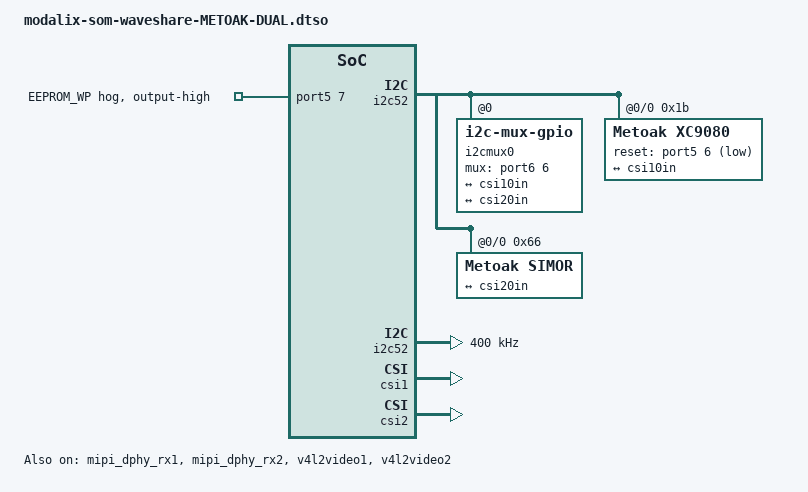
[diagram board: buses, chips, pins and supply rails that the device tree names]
// SPDX-License-Identifier: (GPL-2.0+ OR MIT)
/*
 * Copyright (c) 2026 SiMa ai
 */

/dts-v1/;
/plugin/;

#include <dt-bindings/gpio/gpio.h> 

&{/} {
        xclk_shared: xclk {
                status = "okay";
                compatible = "fixed-clock";
                #clock-cells = <0>;
                clock-frequency = <24000000>;
        };

        i2cmux0: i2cmux@0 {
                compatible = "i2c-mux-gpio";
                i2c-parent = <&i2c52>;
                #address-cells = <1>;
                #size-cells = <0>;
                /* Set port6 gpio6 to GPIO_ACTIVE_LOW mode */
                mux-gpios = <&port6 6 0>;

                i2cmux0p0: i2c@0 {
                    reg = <0>;
                    #address-cells = <1>;
                    #size-cells = <0>;
                };

                i2cmux0p1: i2c@1 {
                    reg = <1>;
                    #address-cells = <1>;
                    #size-cells = <0>;
                };
        };
};

&port5 {
    
        gpio-line-names =
                     "",        /* pin 0 */
                     "",        /* pin 1 */
                     "",        /* pin 2 */
                     "",        /* pin 3 */
                     "",        /* pin 4 */
                     "",        /* pin 5 */
                     "SIMOR_RESET";        /* pin 6 */

        cam-hog1 {
                gpio-hog;
                /* Set port5 gpio7 to GPIO_ACTIVE_HIGH mode */
                gpios = <7 0>;
                output-high;
                line-name = "EEPROM_WP";
        };
};

&i2c52 {
    status = "okay";
    clock-frequency = <400000>;
    #address-cells = <1>;
    #size-cells = <0>;
};

&csi1 {
    status = "okay";
};

&csi2 {
    status = "okay";
};

&axi_vdma1 {
    status = "okay";
};

&axi_vdma2 {
    status = "okay";
};

&mipi_dphy_rx1 {
    status = "okay";
};

&mipi_dphy_rx2 {
    status = "okay";
};

&v4l2video1 {
    status = "okay";
};

&v4l2video2 {
    status = "okay";
};

&v4l2vdma1 {
    status = "okay";
};

&v4l2vdma2 {
    status = "okay";
};

&csi10in {
    clock-lanes = <0>;
    data-lanes = <1 2>;
    link-frequencies = /bits/ 64 <450000000>;
    remote-endpoint = <&cam10out>;
    clock-continuous;
};

&csi20in {
    clock-lanes = <0>;
    data-lanes = <1 2>;
    link-frequencies = /bits/ 64 <450000000>;
    remote-endpoint = <&cam20out>;
    clock-continuous;
};

&i2cmux0p0 {
         xc9080: xc9080@1b {
                 compatible = "Metoak,xc9080";
                 reg = <0x1b>;
                 
                 startup-delay-ms = <0>;
                 reset-gpios = <&port5 6 GPIO_ACTIVE_LOW>;   

                port@1 {
                        cam10out: endpoint@0 {
                                clock-lanes = <0>;
                                data-lanes = <1 2>;
                                link-frequencies = /bits/ 64 <480000000>;
                                remote-endpoint = <&csi10in>;
                                clock-continuous;
                        };
                };
        };

        simor: simor@66 {
                compatible = "Metoak,simor";
                reg = <0x66>;
                
		port@1 {
                        cam20out: endpoint@0 {
                                clock-lanes = <0>;
                                data-lanes = <1 2>;
                                link-frequencies = /bits/ 64 <480000000>;
                                remote-endpoint = <&csi20in>;
                                clock-continuous;
                        };
                };
      };

};
